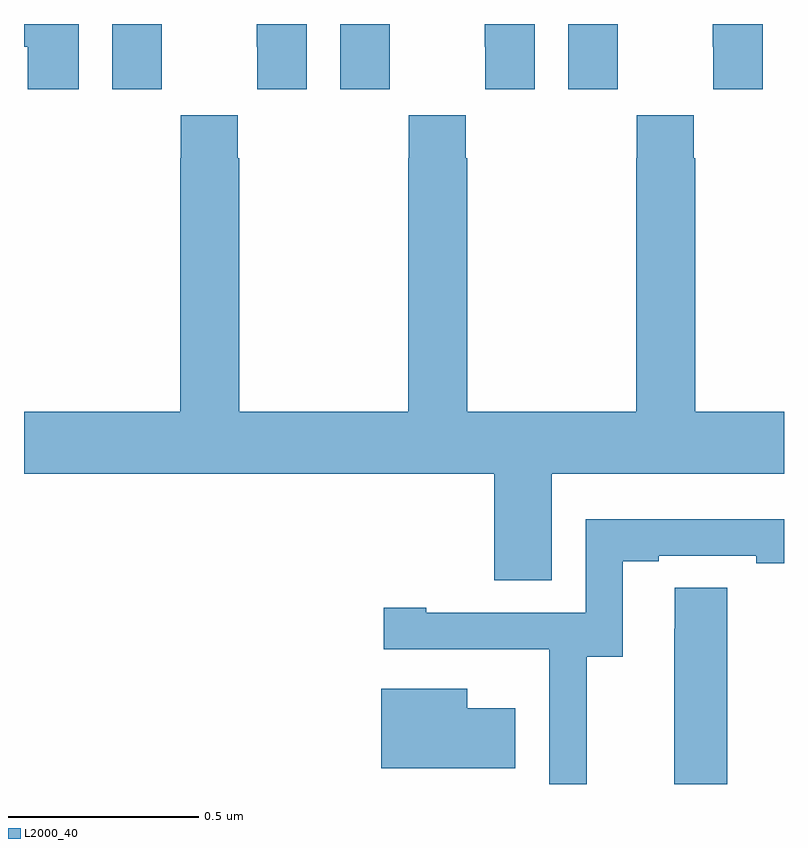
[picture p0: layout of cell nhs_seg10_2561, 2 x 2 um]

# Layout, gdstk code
import gdstk
lib = gdstk.Library(unit=1e-6, precision=1e-09)
def P(c, l, *ps):  # polygons
    for p in ps: c.add(gdstk.Polygon(p, *l))
L2000_40 = (2000, 40)

nhs_seg10_2561 = lib.new_cell('nhs_seg10_2561')
P(nhs_seg10_2561, L2000_40, [(142.144,1301.5),(142.001,1301.5),(142.001,1301.44),(142.01,1301.44),(142.01,1301.328),(142.144,1301.328)],
  [(142.362,1301.44),(142.363,1301.44),(142.363,1301.5),(142.232,1301.5),(142.232,1301.328),(142.362,1301.328)],
  [(142.744,1301.5),(142.613,1301.5),(142.613,1301.44),(142.614,1301.44),(142.614,1301.328),(142.744,1301.328)],
  [(142.962,1301.44),(142.963,1301.44),(142.963,1301.5),(142.832,1301.5),(142.832,1301.328),(142.962,1301.328)],
  [(143.344,1301.5),(143.213,1301.5),(143.213,1301.44),(143.214,1301.44),(143.214,1301.328),(143.344,1301.328)],
  [(143.562,1301.44),(143.563,1301.44),(143.563,1301.5),(143.432,1301.5),(143.432,1301.328),(143.562,1301.328)],
  [(143.944,1301.5),(143.813,1301.5),(143.813,1301.44),(143.814,1301.44),(143.814,1301.328),(143.944,1301.328)],
  [(143.389,1300.316),(144,1300.316),(144,1300.48),(143.766,1300.48),(143.766,1301.147),(143.763,1301.147),(143.763,1301.26),(143.613,1301.26),(143.613,1301.147),(143.611,1301.147),(143.611,1300.48),(143.166,1300.48),(143.166,1301.147),(143.163,1301.147),(143.163,1301.26),(143.013,1301.26),(143.013,1301.147),(143.011,1301.147),(143.011,1300.48),(142.566,1300.48),(142.566,1301.147),(142.563,1301.147),(142.563,1301.26),(142.413,1301.26),(142.413,1301.147),(142.411,1301.147),(142.411,1300.48),(142,1300.48),(142,1300.316),(143.237,1300.316),(143.237,1300.036),(143.389,1300.036)],
  [(143.481,1299.835),(143.575,1299.835),(143.575,1300.086),(143.671,1300.086),(143.671,1300.101),(143.927,1300.101),(143.927,1300.081),(144,1300.081),(144,1300.197),(143.478,1300.197),(143.478,1299.951),(143.059,1299.951),(143.059,1299.964),(142.947,1299.964),(142.947,1299.855),(143.381,1299.855),(143.381,1299.854),(143.382,1299.854),(143.382,1299.5),(143.481,1299.5)],
  [(143.851,1300.016),(143.712,1300.016),(143.712,1299.908),(143.711,1299.908),(143.711,1299.5),(143.851,1299.5)],
  [(143.293,1299.7),(143.167,1299.7),(143.167,1299.751),(142.94,1299.751),(142.94,1299.542),(143.293,1299.542)])

lib.write_gds('nhs_seg10_2561.gds')
